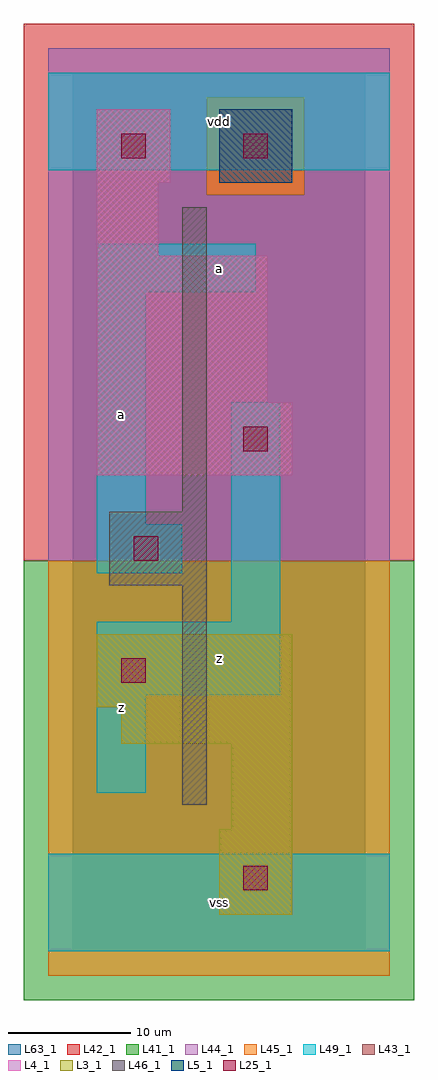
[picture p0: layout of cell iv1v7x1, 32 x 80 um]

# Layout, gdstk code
import gdstk
lib = gdstk.Library(unit=1e-6, precision=1e-09)
def R(c, l, rs):  # rectangles x0, y0, x1, y1
    for r in rs: c.add(gdstk.rectangle(r[:2], r[2:], *l))
L3_1 = (3, 1)
L4_1 = (4, 1)
L5_1 = (5, 1)
L25_1 = (25, 1)
L41_1 = (41, 1)
L42_1 = (42, 1)
L43_1 = (43, 1)
L44_1 = (44, 1)
L45_1 = (45, 1)
L46_1 = (46, 1)
L49_1 = (49, 1)
L63_1 = (63, 1)

iv1v7x1 = lib.new_cell('iv1v7x1')
R(iv1v7x1, L3_1, [(12,3,18,10), (13,10,18,17), (4,17,18,20), (2,20,18,26)])
R(iv1v7x1, L4_1, [(2,39,18,45), (2,45,16,57), (2,57,7,63), (2,63,8,69)])
R(iv1v7x1, L5_1, [(12,63,18,69)])
R(iv1v7x1, L25_1, [(14,5,16,7), (4,22,6,24), (5,32,7,34), (14,41,16,43), (4,65,6,67), (14,65,16,67)])
R(iv1v7x1, L41_1, [(-4,-4,28,32)])
R(iv1v7x1, L42_1, [(-4,32,28,76)])
R(iv1v7x1, L43_1, [(12,3,18,10), (13,10,18,17), (4,17,18,20), (2,20,18,26), (2,39,18,45), (2,45,16,57), (2,57,7,63), (2,63,8,69), (12,63,18,69)])
R(iv1v7x1, L44_1, [(-2,32,26,62), (-2,62,11,70), (19,62,26,70), (-2,70,26,74)])
R(iv1v7x1, L45_1, [(-2,-2,26,32), (11,62,19,70)])
R(iv1v7x1, L46_1, [(9,12,11,30), (3,30,11,36), (9,36,11,61)])
R(iv1v7x1, L49_1, [(-2,0,26,8), (2,13,6,21), (2,21,17,27), (13,27,17,45), (2,31,9,35), (2,35,6,54), (2,54,15,58), (-2,64,26,72)])
R(iv1v7x1, L63_1, [(0,0,24,72)])
iv1v7x1.add(gdstk.Label('z', (4,20), layer=49, texttype=1))
iv1v7x1.add(gdstk.Label('a', (4,44), layer=49, texttype=1))
iv1v7x1.add(gdstk.Label('vss', (12,4), layer=49, texttype=1))
iv1v7x1.add(gdstk.Label('z', (12,24), layer=49, texttype=1))
iv1v7x1.add(gdstk.Label('a', (12,56), layer=49, texttype=1))
iv1v7x1.add(gdstk.Label('vdd', (12,68), layer=49, texttype=1))

lib.write_gds('iv1v7x1.gds')
